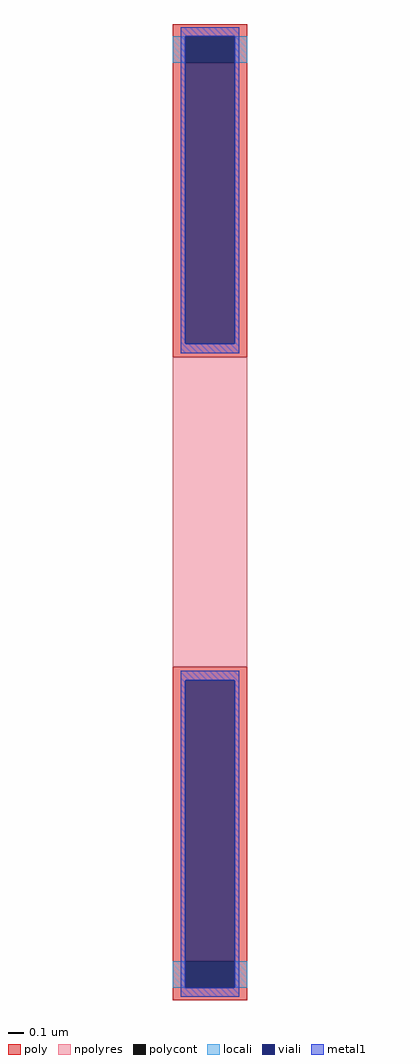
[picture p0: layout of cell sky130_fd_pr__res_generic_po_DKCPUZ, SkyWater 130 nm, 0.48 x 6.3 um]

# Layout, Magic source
magic
tech sky130A
magscale 1 2
<< poly >>
rect -48 614 48 630
rect -48 580 -32 614
rect 32 580 48 614
rect -48 200 48 580
rect -48 -580 48 -200
rect -48 -614 -32 -580
rect 32 -614 48 -580
rect -48 -630 48 -614
<< polycont >>
rect -32 580 32 614
rect -32 -614 32 -580
<< npolyres >>
rect -48 -200 48 200
<< locali >>
rect -48 580 -32 614
rect 32 580 48 614
rect -48 -614 -32 -580
rect 32 -614 48 -580
<< viali >>
rect -32 580 32 614
rect -32 217 32 580
rect -32 -580 32 -217
rect -32 -614 32 -580
<< metal1 >>
rect -38 614 38 626
rect -38 217 -32 614
rect 32 217 38 614
rect -38 205 38 217
rect -38 -217 38 -205
rect -38 -614 -32 -217
rect 32 -614 38 -217
rect -38 -626 38 -614
<< properties >>
string gencell sky130_fd_pr__res_generic_po
string library sky130
string parameters w 0.482 l 2 m 1 nx 1 wmin 0.330 lmin 1.650 rho 48.2 val 200.0 dummy 0 dw 0.0 term 0.0 sterm 0.0 caplen 0.4 snake 0 guard 0 glc 1 grc 1 gtc 1 gbc 1 roverlap 0 endcov 100 full_metal 1 hv_guard 0 n_guard 0 vias 1 viagb 0 viagt 0 viagl 0 viagr 0
<< end >>
